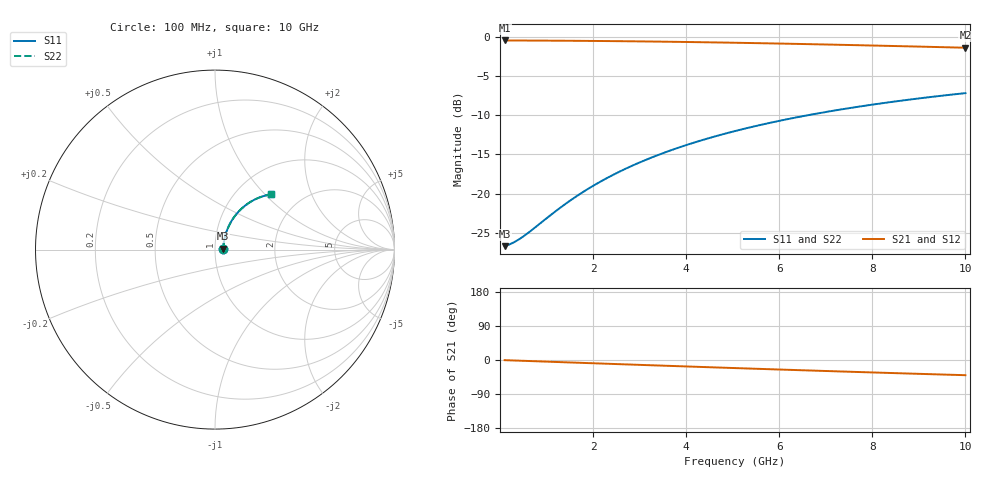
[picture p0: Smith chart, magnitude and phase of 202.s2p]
# Hz S RI R 50.00
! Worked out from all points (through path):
!   100 points, 100 MHz to 10 GHz, reference 50 ohm
!   highest |S21| = -0.41 dB at 100 MHz (marker M1); lowest = -1.3 dB at 10 GHz (marker M2)
!   group delay of S21, straight-line fit = 11.2 ps
!   lowest |S11| = -26.7 dB at 100 MHz (marker M3), VSWR 1.10, Z = 54.8 + j0.524 ohm
!   |S11| at or under -10 dB: start of sweep to 6.594 GHz
!   |S22| runs from -26.7 to -7.1 dB; largest |S21 - S12| = 0
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1e8  0.0458 0.00478  0.9542 -0.00718  0.9542 -0.00718  0.0458 0.00478
2e8  0.0462 0.00954  0.9538 -0.0144  0.9538 -0.0144  0.0462 0.00954
3e8  0.0466 0.0143  0.9534 -0.0215  0.9534 -0.0215  0.0466 0.0143
5e8  0.0475 0.0238  0.9524 -0.0358  0.9524 -0.0358  0.0475 0.0238
7e8  0.0486 0.0333  0.9512 -0.0501  0.9512 -0.0501  0.0486 0.0333
1.3e9  0.0534 0.0613  0.9461 -0.0927  0.9461 -0.0927  0.0534 0.0613
1.6e9  0.0567 0.0752  0.9425 -0.1137  0.9425 -0.1137  0.0567 0.0752
1.8e9  0.0592 0.0843  0.9398 -0.1276  0.9398 -0.1276  0.0592 0.0843
2.2e9  0.065 0.1022  0.9335 -0.1552  0.9335 -0.1552  0.065 0.1022
2.6e9  0.0718 0.1196  0.9261 -0.1823  0.9261 -0.1823  0.0718 0.1196
3e9  0.0796 0.1366  0.9177 -0.2089  0.9177 -0.2089  0.0796 0.1366
3.4e9  0.0883 0.1529  0.9082 -0.2349  0.9082 -0.2349  0.0883 0.1529
3.8e9  0.0979 0.1686  0.8977 -0.2603  0.8977 -0.2603  0.0979 0.1686
4.2e9  0.1083 0.1837  0.8864 -0.2851  0.8864 -0.2851  0.1083 0.1837
4.6e9  0.1194 0.198  0.8741 -0.3091  0.8741 -0.3091  0.1194 0.198
5.1e9  0.1344 0.2147  0.8577 -0.338  0.8577 -0.338  0.1344 0.2147
5.9e9  0.1602 0.2389  0.8292 -0.3817  0.8292 -0.3817  0.1602 0.2389
6.7e9  0.1881 0.2595  0.7983 -0.4219  0.7983 -0.4219  0.1881 0.2595
7.5e9  0.2173 0.2767  0.7655 -0.4588  0.7655 -0.4588  0.2173 0.2767
8.4e9  0.2514 0.2918  0.7269 -0.4961  0.7269 -0.4961  0.2514 0.2918
9.2e9  0.2822 0.3015  0.6917 -0.5257  0.6917 -0.5257  0.2822 0.3015
1e10  0.313 0.3079  0.6559 -0.5521  0.6559 -0.5521  0.313 0.3079
